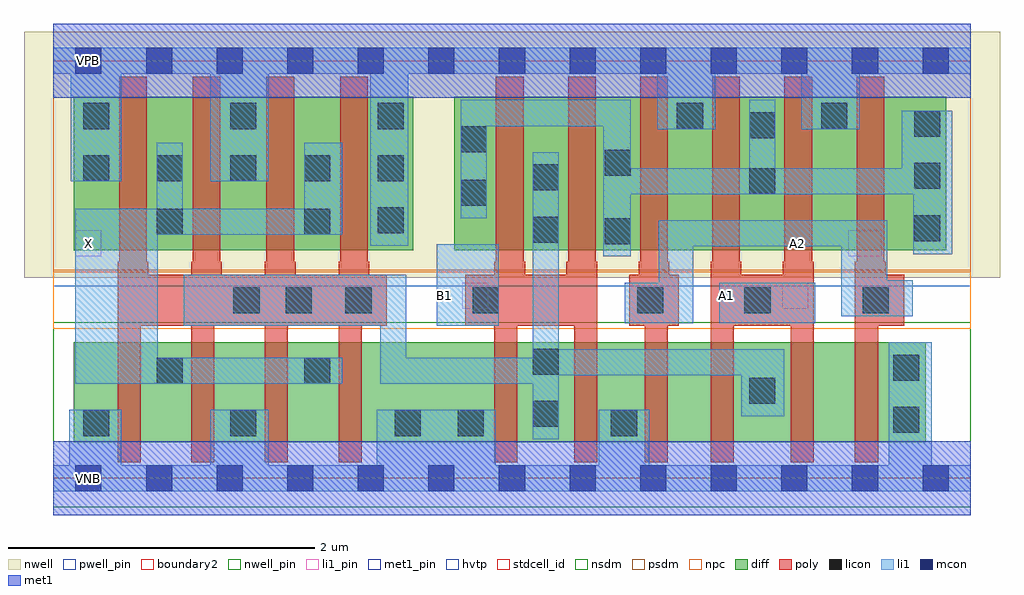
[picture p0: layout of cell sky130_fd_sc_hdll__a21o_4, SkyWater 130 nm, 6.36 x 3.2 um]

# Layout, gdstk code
import gdstk
lib = gdstk.Library(unit=1e-6, precision=1e-09)
def R(c, l, rs):  # rectangles x0, y0, x1, y1
    for r in rs: c.add(gdstk.rectangle(r[:2], r[2:], *l))
def A(c, l, x, y, w, h, nx, ny, dx, dy):  # array of equal rectangles
    R(c, l, [(x+i*dx, y+j*dy, x+i*dx+w, y+j*dy+h) for i in range(nx) for j in range(ny)])
def P(c, l, *ps):  # polygons
    for p in ps: c.add(gdstk.Polygon(p, *l))
nwell_pin = (64, 16)
nwell = (64, 20)
diff = (65, 20)
poly = (66, 20)
licon = (66, 44)
li1_pin = (67, 16)
li1 = (67, 20)
mcon = (67, 44)
met1_pin = (68, 16)
met1 = (68, 20)
hvtp = (78, 44)
stdcell_id = (81, 4)
nsdm = (93, 44)
psdm = (94, 20)
npc = (95, 20)
pwell_pin = (122, 16)
boundary2 = (236, 0)

sky130_fd_sc_hdll__a21o_ = lib.new_cell('sky130_fd_sc_hdll__a21o_4')
R(sky130_fd_sc_hdll__a21o_, nwell_pin, [(0.145,2.635,0.315,2.805)])
R(sky130_fd_sc_hdll__a21o_, nwell, [(-0.19,1.305,6.17,2.91)])
R(sky130_fd_sc_hdll__a21o_, diff, [(0.135,0.235,5.685,0.885), (0.135,1.485,2.345,2.485), (2.615,1.485,5.82,2.485)])
P(sky130_fd_sc_hdll__a21o_, poly, [(2.175,1.325),(2.06,1.325),(2.06,1.41),(2.05,1.41),(2.05,2.615),(1.87,2.615),(1.87,1.41),(1.86,1.41),(1.86,1.325),(1.58,1.325),(1.58,1.41),(1.57,1.41),(1.57,2.615),(1.39,2.615),(1.39,1.41),(1.38,1.41),(1.38,1.325),(1.1,1.325),(1.1,1.41),(1.09,1.41),(1.09,2.615),(0.91,2.615),(0.91,1.41),(0.9,1.41),(0.9,1.325),(0.62,1.325),(0.62,1.41),(0.61,1.41),(0.61,2.615),(0.43,2.615),(0.43,1.41),(0.42,1.41),(0.42,0.105),(0.57,0.105),(0.57,0.995),(0.9,0.995),(0.9,0.105),(1.05,0.105),(1.05,0.995),(1.38,0.995),(1.38,0.105),(1.53,0.105),(1.53,0.995),(1.86,0.995),(1.86,0.105),(2.01,0.105),(2.01,0.995),(2.175,0.995)],
  [(3.545,1.41),(3.535,1.41),(3.535,2.615),(3.355,2.615),(3.355,1.41),(3.345,1.41),(3.345,1.325),(3.075,1.325),(3.075,1.41),(3.065,1.41),(3.065,2.615),(2.885,2.615),(2.885,1.41),(2.875,1.41),(2.875,1.325),(2.685,1.325),(2.685,0.995),(2.875,0.995),(2.875,0.105),(3.025,0.105),(3.025,0.995),(3.395,0.995),(3.395,0.105),(3.545,0.105)],
  [(4.075,1.325),(4.015,1.325),(4.015,1.41),(4.005,1.41),(4.005,2.615),(3.825,2.615),(3.825,1.41),(3.815,1.41),(3.815,1.325),(3.755,1.325),(3.755,0.995),(3.855,0.995),(3.855,0.105),(4.005,0.105),(4.005,0.995),(4.075,0.995)],
  [(4.955,1.41),(4.945,1.41),(4.945,2.615),(4.765,2.615),(4.765,1.41),(4.755,1.41),(4.755,1.325),(4.485,1.325),(4.485,1.41),(4.475,1.41),(4.475,2.615),(4.295,2.615),(4.295,1.41),(4.285,1.41),(4.285,0.105),(4.435,0.105),(4.435,0.995),(4.805,0.995),(4.805,0.105),(4.955,0.105)],
  [(5.545,1.325),(5.425,1.325),(5.425,1.41),(5.415,1.41),(5.415,2.615),(5.235,2.615),(5.235,1.41),(5.225,1.41),(5.225,0.105),(5.375,0.105),(5.375,0.995),(5.545,0.995)])
A(sky130_fd_sc_hdll__a21o_, licon, 5.61, 1.545, 0.17, 0.17, 1, 3, 0, 0.34)
A(sky130_fd_sc_hdll__a21o_, licon, 0.195, 1.935, 0.17, 0.17, 5, 1, 0.48, 0)
A(sky130_fd_sc_hdll__a21o_, licon, 0.195, 2.275, 0.17, 0.17, 3, 1, 0.96, 0)
R(sky130_fd_sc_hdll__a21o_, licon, [(0.195,0.275,0.365,0.445), (1.155,0.275,1.325,0.445), (2.225,0.275,2.395,0.445), (2.635,0.275,2.805,0.445), (3.635,0.275,3.805,0.445), (5.475,0.295,5.645,0.465), (3.125,0.335,3.295,0.505), (4.535,0.485,4.705,0.655), (0.675,0.615,0.845,0.785), (1.635,0.615,1.805,0.785), (5.475,0.635,5.645,0.805), (3.125,0.675,3.295,0.845), (1.175,1.075,1.345,1.245), (1.515,1.075,1.685,1.245), (1.905,1.075,2.075,1.245), (2.735,1.075,2.905,1.245), (3.805,1.075,3.975,1.245), (4.505,1.075,4.675,1.245), (5.275,1.075,5.445,1.245), (3.595,1.525,3.765,1.695), (3.125,1.535,3.295,1.705), (0.675,1.585,0.845,1.755), (1.635,1.585,1.805,1.755), (2.115,1.595,2.285,1.765), (2.655,1.775,2.825,1.945), (4.535,1.85,4.705,2.02), (3.125,1.875,3.295,2.045), (3.595,1.97,3.765,2.14), (2.655,2.125,2.825,2.295), (4.535,2.215,4.705,2.385), (4.065,2.275,4.235,2.445), (5.005,2.275,5.175,2.445)])
R(sky130_fd_sc_hdll__a21o_, li1_pin, [(2.665,1.105,2.835,1.275), (4.75,1.105,4.92,1.275), (0.145,1.445,0.315,1.615), (5.18,1.445,5.4,1.615)])
R(sky130_fd_sc_hdll__a21o_, li1, [(2.5,0.995,2.905,1.525), (4.34,1.01,4.965,1.275), (4.535,1.915,4.705,2.465)])
P(sky130_fd_sc_hdll__a21o_, li1, [(5.98,0.085),(5.725,0.085),(5.725,0.885),(5.445,0.885),(5.445,0.085),(3.885,0.085),(3.885,0.445),(3.555,0.445),(3.555,0.085),(2.885,0.085),(2.885,0.445),(2.11,0.445),(2.11,0.085),(1.405,0.085),(1.405,0.445),(1.025,0.445),(1.025,0.085),(0.445,0.085),(0.445,0.445),(0.105,0.445),(0.105,0.085),(0,0.085),(0,-0.085),(5.98,-0.085)],
  [(5.98,2.805),(0,2.805),(0,2.635),(0.115,2.635),(0.115,1.935),(0.445,1.935),(0.445,2.635),(1.025,2.635),(1.025,1.935),(1.405,1.935),(1.405,2.635),(2.065,2.635),(2.065,1.515),(2.315,1.515),(2.315,2.635),(3.935,2.635),(3.935,2.275),(4.315,2.275),(4.315,2.635),(4.875,2.635),(4.875,2.275),(5.255,2.275),(5.255,2.635),(5.98,2.635)],
  [(1.885,0.785),(0.68,0.785),(0.68,1.585),(1.885,1.585),(1.885,2.185),(1.635,2.185),(1.635,1.755),(0.845,1.755),(0.845,2.185),(0.675,2.185),(0.675,1.755),(0.145,1.755),(0.145,0.615),(1.885,0.615)],
  [(4.765,0.84),(3.295,0.84),(3.295,2.125),(3.125,2.125),(3.125,0.785),(2.3,0.785),(2.3,1.325),(0.85,1.325),(0.85,0.995),(2.13,0.995),(2.13,0.615),(3.125,0.615),(3.125,0.255),(3.295,0.255),(3.295,0.67),(4.485,0.67),(4.485,0.405),(4.765,0.405)],
  [(5.6,1.29),(5.435,1.29),(5.435,1.68),(3.945,1.68),(3.945,1.275),(3.725,1.275),(3.725,1.01),(4.17,1.01),(4.17,1.51),(5.135,1.51),(5.135,1.055),(5.6,1.055)],
  [(5.86,2.395),(5.53,2.395),(5.53,2.02),(3.765,2.02),(3.765,2.465),(2.655,2.465),(2.655,1.695),(2.825,1.695),(2.825,2.295),(3.585,2.295),(3.585,1.445),(3.765,1.445),(3.765,1.85),(5.605,1.85),(5.605,1.46),(5.86,1.46)])
A(sky130_fd_sc_hdll__a21o_, mcon, 0.145, -0.085, 0.17, 0.17, 13, 2, 0.46, 2.72)
R(sky130_fd_sc_hdll__a21o_, met1_pin, [(0.145,-0.085,0.315,0.085), (0.145,2.635,0.315,2.805)])
R(sky130_fd_sc_hdll__a21o_, met1, [(0,-0.24,5.98,0.24), (0,2.48,5.98,2.96)])
R(sky130_fd_sc_hdll__a21o_, hvtp, [(0,1.25,5.98,2.72)])
R(sky130_fd_sc_hdll__a21o_, stdcell_id, [(0,0,5.98,2.72)])
R(sky130_fd_sc_hdll__a21o_, nsdm, [(0,-0.19,5.98,1.015)])
R(sky130_fd_sc_hdll__a21o_, psdm, [(0,1.355,5.98,2.91)])
R(sky130_fd_sc_hdll__a21o_, npc, [(0,0.975,5.98,1.345)])
R(sky130_fd_sc_hdll__a21o_, pwell_pin, [(0.145,-0.085,0.315,0.085)])
R(sky130_fd_sc_hdll__a21o_, boundary2, [(0,0,5.98,2.72)])
sky130_fd_sc_hdll__a21o_.add(gdstk.Label('A2', (4.85,1.53), layer=67, texttype=5))
sky130_fd_sc_hdll__a21o_.add(gdstk.Label('A1', (4.39,1.19), layer=67, texttype=5))
sky130_fd_sc_hdll__a21o_.add(gdstk.Label('X', (0.23,1.53), layer=67, texttype=5))
sky130_fd_sc_hdll__a21o_.add(gdstk.Label('B1', (2.55,1.19), layer=67, texttype=5))
sky130_fd_sc_hdll__a21o_.add(gdstk.Label('VNB', (0.23,0), layer=64, texttype=59))
sky130_fd_sc_hdll__a21o_.add(gdstk.Label('VPB', (0.23,2.72), layer=64, texttype=5))
sky130_fd_sc_hdll__a21o_.add(gdstk.Label('VGND', (0.23,0), layer=68, texttype=5))
sky130_fd_sc_hdll__a21o_.add(gdstk.Label('VPWR', (0.23,2.72), layer=68, texttype=5))

lib.write_gds('sky130_fd_sc_hdll__a21o_4.gds')
